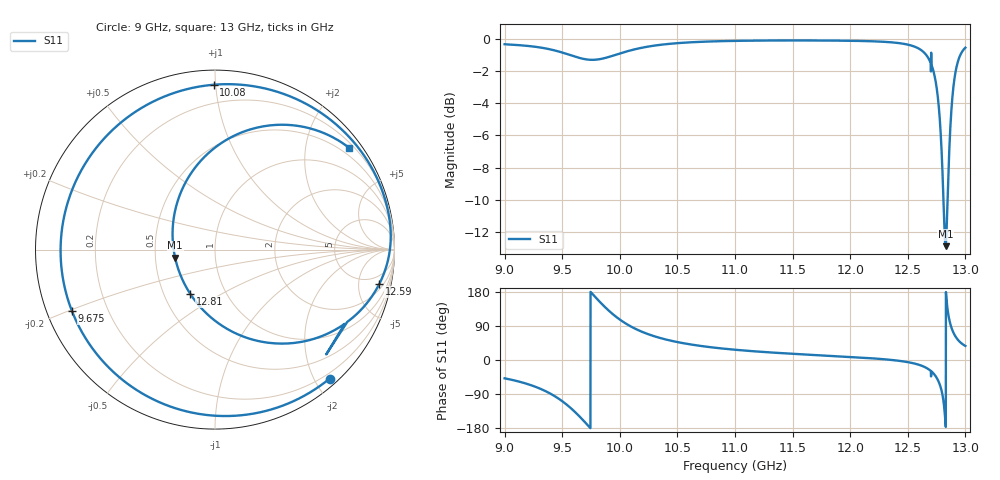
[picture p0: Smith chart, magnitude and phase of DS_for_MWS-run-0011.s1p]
! TOUCHSTONE file generated by CST DESIGN STUDIO
! Date and time: Tue Feb  4 17:42:48 2025
! Project name: C:\Work\MatlabApps\UnitCellOptimizationMatlab\CST\unitcell.cst
! Tree item: Tasks\Sweep1\SPara1\S-Parameters
! Header version: 2024
! Port assignment regex: !\s*Touchstone port\s*([0-9]+)\s*=\s*(CST MWS port|CST DES external port|CST DES block port)\s*(.+)\s* \(\"(.*)\"\)(\s*mode\s*([0-9]+))?.*
! Touchstone port assignment:
! Touchstone port 1 = CST DES external port 1 ("")
# GHz S MA R 50
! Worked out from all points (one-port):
!   4001 points, 9 GHz to 13 GHz, reference 50 ohm
!   lowest |S11| = -12.9 dB at 12.83 GHz (marker M1), VSWR 1.59, Z = 31.7 - j3.01 ohm
!   |S11| at or under -10 dB: 12.80952 GHz to 12.84515 GHz (35.63 MHz wide, 0.278 % of centre)
!   S11 on the Smith chart (normalised r, x): 9 GHz: 0.12, -2.22; 9.675 GHz: 0.07, -0.20; 10.08 GHz: 0.08, +0.99; 12.59 GHz: 2.87, -8.75; 12.81 GHz: 0.68, -0.36; 13 GHz: 0.31, +2.95
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9  0.9617 -48.3
9.271  0.9438 -71.1
9.402  0.926 -89.5
9.5  0.9063 -108.6
9.587  0.8857 -130.3
9.675  0.8674 -156.8
9.742  0.8605 -178.9
9.809  0.8623 159.0
9.904  0.8779 130.3
10  0.9 106.7
10.084  0.9185 90.5
10.272  0.949 65.4
10.5  0.9691 47.3
11  0.9851 27.1
11.5  0.988 16.4
12  0.9858 8.1
12.5  0.959 -5.6
12.588  0.9353 -11.8
12.668  0.8826 -22.0
12.724  0.79 -35.8
12.777  0.5669 -64.2
12.796  0.4275 -84.5
12.814  0.2825 -119.2
12.828  0.2268 -168.5
12.854  0.3954 116.1
12.892  0.6872 75.0
12.942  0.865 50.8
13  0.9384 37.1
